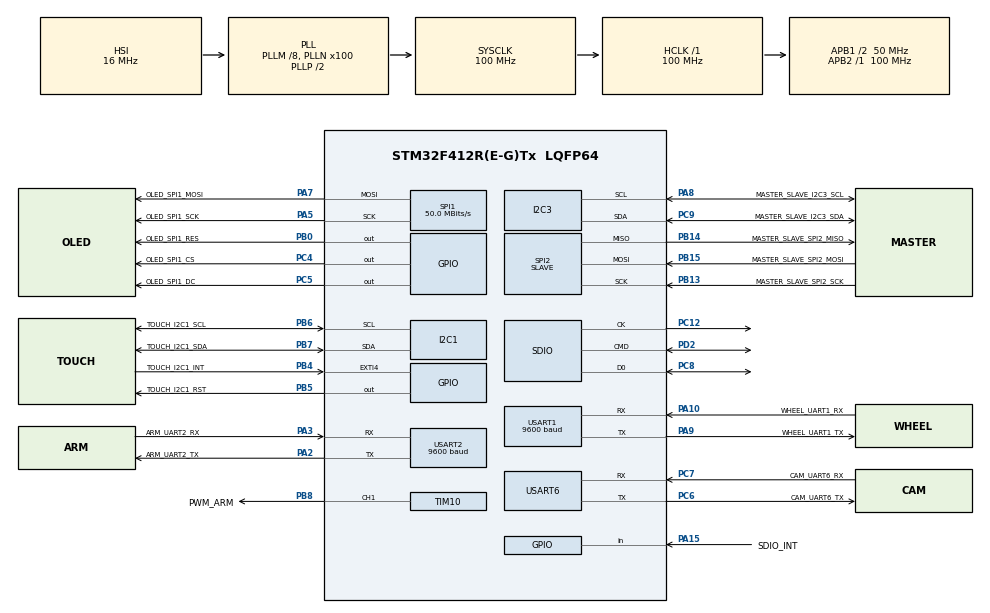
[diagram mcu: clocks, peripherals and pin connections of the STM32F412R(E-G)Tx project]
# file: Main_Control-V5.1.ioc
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Dma.I2C3_RX.2.Direction=DMA_PERIPH_TO_MEMORY
Dma.I2C3_RX.2.FIFOMode=DMA_FIFOMODE_DISABLE
Dma.I2C3_RX.2.Instance=DMA1_Stream1
Dma.I2C3_RX.2.MemDataAlignment=DMA_MDATAALIGN_BYTE
Dma.I2C3_RX.2.MemInc=DMA_MINC_ENABLE
Dma.I2C3_RX.2.Mode=DMA_NORMAL
Dma.I2C3_RX.2.PeriphDataAlignment=DMA_PDATAALIGN_BYTE
Dma.I2C3_RX.2.PeriphInc=DMA_PINC_DISABLE
Dma.I2C3_RX.2.Priority=DMA_PRIORITY_LOW
Dma.I2C3_TX.3.Direction=DMA_MEMORY_TO_PERIPH
Dma.I2C3_TX.3.FIFOMode=DMA_FIFOMODE_DISABLE
Dma.I2C3_TX.3.Instance=DMA1_Stream4
Dma.I2C3_TX.3.MemDataAlignment=DMA_MDATAALIGN_BYTE
Dma.I2C3_TX.3.MemInc=DMA_MINC_ENABLE
Dma.I2C3_TX.3.Mode=DMA_NORMAL
Dma.I2C3_TX.3.PeriphDataAlignment=DMA_PDATAALIGN_BYTE
Dma.I2C3_TX.3.PeriphInc=DMA_PINC_DISABLE
Dma.I2C3_TX.3.Priority=DMA_PRIORITY_LOW
Dma.Request0=SPI1_TX
Dma.Request1=SDIO
Dma.Request2=I2C3_RX
Dma.Request3=I2C3_TX
Dma.Request4=USART6_RX
Dma.Request5=USART6_TX
Dma.Request6=SPI2_RX
Dma.SDIO.1.Direction=DMA_PERIPH_TO_MEMORY
Dma.SDIO.1.FIFOMode=DMA_FIFOMODE_ENABLE
Dma.SDIO.1.FIFOThreshold=DMA_FIFO_THRESHOLD_FULL
Dma.SDIO.1.Instance=DMA2_Stream3
Dma.SDIO.1.MemBurst=DMA_MBURST_INC4
Dma.SDIO.1.MemDataAlignment=DMA_MDATAALIGN_WORD
Dma.SDIO.1.MemInc=DMA_MINC_ENABLE
Dma.SDIO.1.Mode=DMA_PFCTRL
Dma.SDIO.1.PeriphBurst=DMA_PBURST_INC4
Dma.SDIO.1.PeriphDataAlignment=DMA_PDATAALIGN_WORD
Dma.SDIO.1.PeriphInc=DMA_PINC_DISABLE
Dma.SDIO.1.Priority=DMA_PRIORITY_LOW
Dma.SPI1_TX.0.Direction=DMA_MEMORY_TO_PERIPH
Dma.SPI1_TX.0.FIFOMode=DMA_FIFOMODE_DISABLE
Dma.SPI1_TX.0.Instance=DMA2_Stream5
Dma.SPI1_TX.0.MemDataAlignment=DMA_MDATAALIGN_HALFWORD
Dma.SPI1_TX.0.MemInc=DMA_MINC_ENABLE
Dma.SPI1_TX.0.Mode=DMA_NORMAL
Dma.SPI1_TX.0.PeriphDataAlignment=DMA_PDATAALIGN_HALFWORD
Dma.SPI1_TX.0.PeriphInc=DMA_PINC_DISABLE
Dma.SPI1_TX.0.Priority=DMA_PRIORITY_LOW
Dma.SPI2_RX.6.Direction=DMA_PERIPH_TO_MEMORY
Dma.SPI2_RX.6.FIFOMode=DMA_FIFOMODE_DISABLE
Dma.SPI2_RX.6.Instance=DMA1_Stream3
Dma.SPI2_RX.6.MemDataAlignment=DMA_MDATAALIGN_HALFWORD
Dma.SPI2_RX.6.MemInc=DMA_MINC_ENABLE
Dma.SPI2_RX.6.Mode=DMA_CIRCULAR
Dma.SPI2_RX.6.PeriphDataAlignment=DMA_PDATAALIGN_HALFWORD
Dma.SPI2_RX.6.PeriphInc=DMA_PINC_DISABLE
Dma.SPI2_RX.6.Priority=DMA_PRIORITY_LOW
Dma.USART6_RX.4.Direction=DMA_PERIPH_TO_MEMORY
Dma.USART6_RX.4.FIFOMode=DMA_FIFOMODE_DISABLE
Dma.USART6_RX.4.Instance=DMA2_Stream1
Dma.USART6_RX.4.MemDataAlignment=DMA_MDATAALIGN_BYTE
Dma.USART6_RX.4.MemInc=DMA_MINC_ENABLE
Dma.USART6_RX.4.Mode=DMA_NORMAL
Dma.USART6_RX.4.PeriphDataAlignment=DMA_PDATAALIGN_BYTE
Dma.USART6_RX.4.PeriphInc=DMA_PINC_DISABLE
Dma.USART6_RX.4.Priority=DMA_PRIORITY_LOW
Dma.USART6_TX.5.Direction=DMA_MEMORY_TO_PERIPH
Dma.USART6_TX.5.FIFOMode=DMA_FIFOMODE_DISABLE
Dma.USART6_TX.5.Instance=DMA2_Stream6
Dma.USART6_TX.5.MemDataAlignment=DMA_MDATAALIGN_BYTE
Dma.USART6_TX.5.MemInc=DMA_MINC_ENABLE
Dma.USART6_TX.5.Mode=DMA_NORMAL
Dma.USART6_TX.5.PeriphDataAlignment=DMA_PDATAALIGN_BYTE
Dma.USART6_TX.5.PeriphInc=DMA_PINC_DISABLE
Dma.USART6_TX.5.Priority=DMA_PRIORITY_LOW
FATFS.BSP.number=1
FATFS.USE_DMA_CODE_SD=1
FATFS._CODE_PAGE=936
FATFS._MAX_SS=512
FATFS._USE_LFN=2
FATFS0.BSP.STBoard=false
FATFS0.BSP.api=Unknown
FATFS0.BSP.instance=PA15
FATFS0.BSP.ip=GPIO
FATFS0.BSP.mode=Input
FATFS0.BSP.name=Detect_SDIO
FATFS0.BSP.solution=PA15
Mcu.Family=STM32F4
Mcu.Name=STM32F412R(E-G)Tx
Mcu.Package=LQFP64
NVIC.DMA1_Stream1_IRQn=true\:1\:0\:true\:false\:true\:false\:true\:true
NVIC.DMA1_Stream3_IRQn=true\:0\:0\:false\:false\:true\:false\:true\:true
NVIC.DMA1_Stream4_IRQn=true\:1\:0\:true\:false\:true\:false\:true\:true
NVIC.DMA2_Stream1_IRQn=true\:3\:0\:true\:false\:true\:false\:true\:true
NVIC.DMA2_Stream3_IRQn=true\:14\:0\:true\:false\:true\:false\:true\:true
NVIC.DMA2_Stream5_IRQn=true\:14\:0\:true\:false\:true\:false\:true\:true
NVIC.DMA2_Stream6_IRQn=true\:3\:0\:true\:false\:true\:false\:true\:true
NVIC.EXTI4_IRQn=true\:14\:0\:true\:false\:true\:true\:true\:true
NVIC.I2C3_ER_IRQn=true\:1\:0\:true\:false\:true\:true\:true\:true
NVIC.I2C3_EV_IRQn=true\:1\:0\:true\:false\:true\:true\:true\:true
NVIC.PriorityGroup=NVIC_PRIORITYGROUP_4
NVIC.SDIO_IRQn=true\:14\:0\:true\:false\:true\:true\:true\:true
NVIC.TIM3_IRQn=true\:14\:0\:true\:false\:true\:true\:true\:true
NVIC.TIM6_IRQn=true\:2\:0\:true\:false\:true\:true\:true\:true
PA10.GPIO_Label=WHEEL_UART1_RX
PA10.GPIO_PuPd=GPIO_PULLUP
PA10.Mode=Asynchronous
PA10.Signal=USART1_RX
PA13.Mode=Serial_Wire
PA13.Signal=SYS_JTMS-SWDIO
PA14.Mode=Serial_Wire
PA14.Signal=SYS_JTCK-SWCLK
PA15.GPIO_Label=SDIO_INT
PA15.GPIO_PuPd=GPIO_PULLUP
PA15.Signal=GPIO_Input
PA2.GPIO_Label=ARM_UART2_TX
PA2.GPIO_PuPd=GPIO_PULLUP
PA2.Mode=Asynchronous
PA2.Signal=USART2_TX
PA3.GPIO_Label=ARM_UART2_RX
PA3.GPIO_PuPd=GPIO_PULLUP
PA3.Mode=Asynchronous
PA3.Signal=USART2_RX
PA5.GPIO_Label=OLED_SPI1_SCK
PA5.Mode=TX_Only_Simplex_Unidirect_Master
PA5.Signal=SPI1_SCK
PA7.GPIO_Label=OLED_SPI1_MOSI
PA7.Mode=TX_Only_Simplex_Unidirect_Master
PA7.Signal=SPI1_MOSI
PA8.GPIO_Label=MASTER_SLAVE_I2C3_SCL
PA8.Mode=I2C
PA8.Signal=I2C3_SCL
PA9.GPIO_Label=WHEEL_UART1_TX
PA9.GPIO_PuPd=GPIO_PULLUP
PA9.Mode=Asynchronous
PA9.Signal=USART1_TX
PB0.GPIO_Label=OLED_SPI1_RES
PB0.GPIO_ModeDefaultOutputPP=GPIO_MODE_OUTPUT_PP
PB0.GPIO_PuPd=GPIO_PULLUP
PB0.GPIO_Speed=GPIO_SPEED_FREQ_LOW
PB0.PinState=GPIO_PIN_RESET
PB0.Signal=GPIO_Output
PB13.GPIO_Label=MASTER_SLAVE_SPI2_SCK
PB13.Mode=Full_Duplex_Slave
PB13.Signal=SPI2_SCK
PB14.GPIO_Label=MASTER_SLAVE_SPI2_MISO
PB14.Mode=Full_Duplex_Slave
PB14.Signal=SPI2_MISO
PB15.GPIO_Label=MASTER_SLAVE_SPI2_MOSI
PB15.Mode=Full_Duplex_Slave
PB15.Signal=SPI2_MOSI
PB4.GPIO_Label=TOUCH_I2C1_INT
PB4.GPIO_ModeDefaultEXTI=GPIO_MODE_IT_FALLING
PB4.GPIO_PuPd=GPIO_NOPULL
PB4.Signal=GPXTI4
PB5.GPIO_Label=TOUCH_I2C1_RST
PB5.GPIO_PuPd=GPIO_PULLUP
PB5.Signal=GPIO_Output
PB6.GPIO_Label=TOUCH_I2C1_SCL
PB6.GPIO_Pu=GPIO_NOPULL
PB6.Mode=I2C
PB6.Signal=I2C1_SCL
PB7.GPIO_Label=TOUCH_I2C1_SDA
PB7.GPIO_Pu=GPIO_NOPULL
PB7.Mode=I2C
PB7.Signal=I2C1_SDA
PB8.GPIO_Label=PWM_ARM
PB8.Signal=S_TIM10_CH1
PC12.GPIO_PuPd=GPIO_NOPULL
PC12.Mode=SD_1_bit
PC12.Signal=SDIO_CK
PC4.GPIO_Label=OLED_SPI1_CS
PC4.GPIO_ModeDefaultOutputPP=GPIO_MODE_OUTPUT_PP
PC4.GPIO_PuPd=GPIO_PULLUP
PC4.GPIO_Speed=GPIO_SPEED_FREQ_VERY_HIGH
PC4.PinState=GPIO_PIN_SET
PC4.Signal=GPIO_Output
PC5.GPIO_Label=OLED_SPI1_DC
PC5.GPIO_ModeDefaultOutputPP=GPIO_MODE_OUTPUT_PP
PC5.GPIO_PuPd=GPIO_PULLUP
PC5.GPIO_Speed=GPIO_SPEED_FREQ_VERY_HIGH
PC5.PinState=GPIO_PIN_SET
PC5.Signal=GPIO_Output
PC6.GPIO_Label=CAM_UART6_TX
PC6.Mode=Asynchronous
PC6.Signal=USART6_TX
PC7.GPIO_Label=CAM_UART6_RX
PC7.Mode=Asynchronous
PC7.Signal=USART6_RX
PC8.GPIO_PuPd=GPIO_NOPULL
PC8.Mode=SD_1_bit
PC8.Signal=SDIO_D0
PC9.GPIO_Label=MASTER_SLAVE_I2C3_SDA
PC9.Mode=I2C
PC9.Signal=I2C3_SDA
PD2.GPIO_PuPd=GPIO_NOPULL
PD2.Mode=SD_1_bit
PD2.Signal=SDIO_CMD
PH0\ -\ OSC_IN.Mode=HSE-External-Oscillator
PH0\ -\ OSC_IN.Signal=RCC_OSC_IN
PH1\ -\ OSC_OUT.Mode=HSE-External-Oscillator
PH1\ -\ OSC_OUT.Signal=RCC_OSC_OUT
ProjectManager.HeapSize=0x4000
ProjectManager.StackSize=0x4000
ProjectManager.TargetToolchain=MDK-ARM V5.32
RCC.AHBFreq_Value=100000000
RCC.APB1CLKDivider=RCC_HCLK_DIV2
RCC.APB1Freq_Value=50000000
RCC.APB1TimFreq_Value=100000000
RCC.APB2Freq_Value=100000000
RCC.APB2TimFreq_Value=100000000
RCC.CortexFreq_Value=100000000
RCC.HCLKFreq_Value=100000000
RCC.PLLM=8
RCC.PLLN=100
RCC.PLLQ=4
RCC.SYSCLKFreq_VALUE=100000000
RCC.SYSCLKSource=RCC_SYSCLKSOURCE_PLLCLK
RCC.USBFreq_Value=50000000
RCC.VCOOutputFreq_Value=200000000
SDIO.ClockDiv=0
SH.S_TIM10_CH1.0=TIM10_CH1,PWM Generation1 CH1
SPI1.CalculateBaudRate=50.0 MBits/s
SPI1.Direction=SPI_DIRECTION_2LINES
SPI1.Mode=SPI_MODE_MASTER
SPI1.VirtualType=VM_MASTER
SPI2.DataSize=SPI_DATASIZE_16BIT
SPI2.Direction=SPI_DIRECTION_2LINES
SPI2.Mode=SPI_MODE_SLAVE
SPI2.VirtualType=VM_SLAVE
STMicroelectronics.X-CUBE-ALGOBUILD.1.3.0.LibraryCcDSPOoLibraryJjDSPOoLibrary=true
TIM10.Channel=TIM_CHANNEL_1
TIM10.Period=2000-1
TIM10.Prescaler=1000-1
TIM10.Pulse=250-1
TIM13.AutoReloadPreload=TIM_AUTORELOAD_PRELOAD_ENABLE
TIM13.Prescaler=10000-1
TIM3.AutoReloadPreload=TIM_AUTORELOAD_PRELOAD_ENABLE
TIM3.Period=1000-1
TIM3.Prescaler=100-1
TIM6.Period=5000-1
TIM6.Prescaler=1000-1
USART1.BaudRate=9600
USART1.VirtualMode=VM_ASYNC
USART2.BaudRate=9600
USART2.VirtualMode=VM_ASYNC
USART6.VirtualMode=VM_ASYNC
VP_CRC_VS_CRC.Mode=CRC_Activate
VP_FATFS_VS_SDIO.Mode=SDIO
VP_STMicroelectronics.X-CUBE-ALGOBUILD_VS_DSPOoLibraryJjLibrary_1.3.0_1.3.0.Mode=DSPOoLibraryJjLibrary
VP_TIM10_VS_ClockSourceINT.Mode=Enable_Timer
VP_TIM13_VS_ClockSourceINT.Mode=Enable_Timer
VP_TIM3_VS_ClockSourceINT.Mode=Internal
VP_TIM6_VS_ClockSourceINT.Mode=Enable_Timer
board=custom

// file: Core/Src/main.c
/* USER CODE BEGIN Header */
/**
  ******************************************************************************
  * @file           : main.c
  * @brief          : Main program body
  ******************************************************************************
  * @attention
  *
  * Copyright (c) 2023 STMicroelectronics.
  * All rights reserved.
  *
  * This software is licensed under terms that can be found in the LICENSE file
  * in the root directory of this software component.
  * If no LICENSE file comes with this software, it is provided AS-IS.
  *
  ******************************************************************************
  */
/* USER CODE END Header */
#include "main.h"
#include "crc.h"
#include "dma.h"
#include "fatfs.h"
#include "i2c.h"
#include "sdio.h"
#include "spi.h"
#include "tim.h"
#include "usart.h"
#include "gpio.h"

/* USER CODE BEGIN Includes */
#include "ST7789V.h"
#include "GT911.h"
#include "lvgl.h"
#include "lv_port_disp.h"
#include "lv_port_indev.h"
#include "lv_port_fs.h"
#include "lv_app.h"
#include "Motro_Control_Basic.h"
#include "Motro_Control_Arm.h"
#include "Master_Slave_Communication.h"
#include "Arm.h"
#include "wheel.h"
#include "ble.h"
/* USER CODE END Includes */

void SystemClock_Config(void);

/* USER CODE BEGIN 0 */
void HAL_GPIO_EXTI_Callback(uint16_t GPIO_Pin)
{
  if(GPIO_Pin == TOUCH_I2C1_INT_Pin)
  {
		gt911_Scanf();
	}
}

void HAL_TIM_PeriodElapsedCallback(TIM_HandleTypeDef *htim)
{
	if(htim == &htim3)//1000Hz;1ms
	{
		lv_tick_inc(1);
	}
  else if(htim == &htim6)//20Hz;50ms
  {
    PID_Calculate();
    PID_Frequence_Detection();
    BLE_Arm.Control_Sign = true;
  }
}

void HAL_SPI_RxCpltCallback(SPI_HandleTypeDef *hspi)
{
	if(hspi == &hspi2)
	{
		Master_Slave_Communication_Receive();
	}
}

/* USER CODE END 0 */

int main(void)
{

  /* MCU Configuration--------------------------------------------------------*/

  /* Reset of all peripherals, Initializes the Flash interface and the Systick. */
  HAL_Init();

  /* Configure the system clock */
  SystemClock_Config();

  /* Initialize all configured peripherals */
  MX_GPIO_Init();
  MX_DMA_Init();
  MX_TIM10_Init();
  MX_USART1_UART_Init();
  MX_USART2_UART_Init();
  MX_I2C1_Init();
  MX_SDIO_SD_Init();
  MX_SPI1_Init();
  MX_FATFS_Init();
  MX_TIM3_Init();
  MX_CRC_Init();
  MX_TIM13_Init();
  MX_TIM6_Init();
  MX_I2C3_Init();
  MX_USART6_UART_Init();
  MX_SPI2_Init();
  /* USER CODE BEGIN 2 */
  ////////////////////////////////   Motro_Control_Init   ///////////////////////////////
  Motro_Control_Init();
  ////////////////////////////////   Wheel_Init   ///////////////////////////////
  Wheel_Init();
	///////////////////////////////////   LVGL时钟   /////////////////////////////////
	HAL_TIM_Base_Start_IT(&htim3);
  ///////////////////////////////////   机械臂计算初始化   ///////////////////////////
  Arm_Angle_Calculate_Init();
  /////////////////////////////////    LVGL_INIT  ///////////////////////////////
	lv_init();
	lv_port_disp_init();
	lv_port_indev_init();
  lv_fs_fatfs_init();
	lv_demo_myself();
  ///////////////////////////////    Master_Slave_Communication_Init  ////////////////////////
	Master_Slave_Communication_Init();
  //////////////////////////////////   PID频率控制   ///////////////////////////////
  HAL_TIM_Base_Start(&htim13);
  __HAL_TIM_CLEAR_IT(&htim6, TIM_IT_UPDATE);
  HAL_TIM_Base_Start_IT(&htim6);
  //////////////////////////////////   ARM_Init   ///////////////////////////////
  HAL_Delay(200);
  Arm_Init();
  BLE_Arm_Init();
	//////////////////////////////////       PWM       ///////////////////////////////
  HAL_TIM_PWM_Start(&htim10,TIM_CHANNEL_1);
  /* USER CODE END 2 */

  /* Infinite loop */
  /* USER CODE BEGIN WHILE */
  while (1)
  {
		lv_task_handler();
    LVGL_Display();
    BLE_control();
    /* USER CODE END WHILE */

  }
}

void SystemClock_Config(void)
{
  RCC_OscInitTypeDef RCC_OscInitStruct = {0};
  RCC_ClkInitTypeDef RCC_ClkInitStruct = {0};

  /** Configure the main internal regulator output voltage
  */
  __HAL_RCC_PWR_CLK_ENABLE();
  __HAL_PWR_VOLTAGESCALING_CONFIG(PWR_REGULATOR_VOLTAGE_SCALE1);

  /** Initializes the RCC Oscillators according to the specified parameters
  * in the RCC_OscInitTypeDef structure.
  */
  RCC_OscInitStruct.OscillatorType = RCC_OSCILLATORTYPE_HSI;
  RCC_OscInitStruct.HSIState = RCC_HSI_ON;
  RCC_OscInitStruct.HSICalibrationValue = RCC_HSICALIBRATION_DEFAULT;
  RCC_OscInitStruct.PLL.PLLState = RCC_PLL_ON;
  RCC_OscInitStruct.PLL.PLLSource = RCC_PLLSOURCE_HSI;
  RCC_OscInitStruct.PLL.PLLM = 8;
  RCC_OscInitStruct.PLL.PLLN = 100;
  RCC_OscInitStruct.PLL.PLLP = RCC_PLLP_DIV2;
  RCC_OscInitStruct.PLL.PLLQ = 4;
  RCC_OscInitStruct.PLL.PLLR = 2;
  if (HAL_RCC_OscConfig(&RCC_OscInitStruct) != HAL_OK)
  {
    Error_Handler();
  }

  /** Initializes the CPU, AHB and APB buses clocks
  */
  RCC_ClkInitStruct.ClockType = RCC_CLOCKTYPE_HCLK|RCC_CLOCKTYPE_SYSCLK
                              |RCC_CLOCKTYPE_PCLK1|RCC_CLOCKTYPE_PCLK2;
  RCC_ClkInitStruct.SYSCLKSource = RCC_SYSCLKSOURCE_PLLCLK;
  RCC_ClkInitStruct.AHBCLKDivider = RCC_SYSCLK_DIV1;
  RCC_ClkInitStruct.APB1CLKDivider = RCC_HCLK_DIV2;
  RCC_ClkInitStruct.APB2CLKDivider = RCC_HCLK_DIV1;

  if (HAL_RCC_ClockConfig(&RCC_ClkInitStruct, FLASH_LATENCY_3) != HAL_OK)
  {
    Error_Handler();
  }
}

void Error_Handler(void)
{
  __disable_irq();
  while (1)
  {
  }
}
